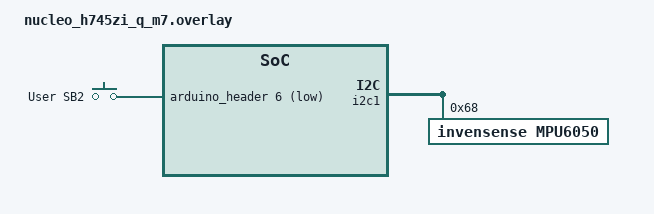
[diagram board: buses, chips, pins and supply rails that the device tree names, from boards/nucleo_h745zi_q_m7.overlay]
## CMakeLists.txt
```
# SPDX-License-Identifier: Apache-2.0

cmake_minimum_required(VERSION 3.20.0)
# set(ZEPHYR_TOOLCHAIN_VARIANT gnuarmemb)
#set(BOARD_FLASH_RUNNER jlink)

find_package(Zephyr REQUIRED HINTS $ENV{ZEPHYR_BASE})
project(blinky)

zephyr_include_directories(src)

target_sources(app PRIVATE src/main.c src/flappy.c src/flappy_lvgl.c )
```

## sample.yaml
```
sample:
  description: LVGL sample application
  name: lvgl
tests:
  sample.display.lvgl.gui:
    filter: dt_chosen_enabled("zephyr,display")
    # flash usage varies depending on the platform, but ~200K are the bare
    # minimum, give some room by adding 50K more. RAM usage depends largerly on
    # the display buffer, but a minimum is also required for the system itself.
    # ~25K seem to be sufficient for most cases, rounded to 32K.
    min_flash: 250
    min_ram: 32
    harness: none
    tags:
      - samples
      - display
      - gui
    modules:
      - lvgl
    integration_platforms:
      - native_posix_64
```

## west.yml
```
manifest:
  remotes:
    - name: zephyrproject-rtos
      url-base: https://github.com/zephyrproject-rtos
  projects:
    - name: zephyr
      remote: zephyrproject-rtos
      revision: v2.7.0
      import: true
  self:
    path: app
```

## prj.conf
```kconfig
CONFIG_GPIO=y
CONFIG_MAIN_STACK_SIZE=2048

CONFIG_DISPLAY=y
CONFIG_DISPLAY_LOG_LEVEL_ERR=y

CONFIG_LOG=y

CONFIG_LVGL=y
CONFIG_LVGL_USE_LABEL=y
CONFIG_LVGL_USE_CONT=y
CONFIG_LVGL_USE_BTN=y
CONFIG_LVGL_USE_THEME_MATERIAL=y
CONFIG_LVGL_USE_LINE=y
CONFIG_LVGL_USE_IMG=y
CONFIG_LVGL_HOR_RES_MAX=128
CONFIG_LVGL_VER_RES_MAX=64

CONFIG_NEWLIB_LIBC=y
CONFIG_NEWLIB_LIBC_FLOAT_PRINTF=y
```

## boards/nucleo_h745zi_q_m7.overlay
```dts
/*
 * Copyright (c) 2020, Nordic Semiconductor ASA
 *
 * SPDX-License-Identifier: Apache-2.0
 */

/ {
	gpio_keys {
		compatible = "gpio-keys";
		user_button1: button_1 {
			gpios = <&arduino_header 6 GPIO_ACTIVE_LOW>;
			label = "User SB2";
		};
	};

	aliases {
		sw1 = &user_button1;
	};
};

arduino_i2c: &i2c1 {
	mpu6050@68 {
		compatible = "invensense,mpu6050";
		reg = <0x68>;
		status = "okay";
		label = "MPU6050";
	};
};
```

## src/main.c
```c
#include <device.h>
#include <drivers/display.h>
#include <drivers/sensor.h>
#include <lvgl.h>
#include <stdio.h>
#include <stdlib.h>     
#include <string.h>
#include <zephyr.h>
#include <flappy.h>
#include <math.h>
#include <drivers/gpio.h>

#define LOG_LEVEL CONFIG_LOG_DEFAULT_LEVEL
#include <logging/log.h>
LOG_MODULE_REGISTER(app);

lv_coord_t y = 25;
lv_coord_t x = 28;
const int16_t ascend = -5;
const int16_t descend = 1;
const uint16_t rateOfDescend = 100;
uint16_t ascendMax = 0;
uint16_t descendMax = 50; // screen resolution_y = 64, flappy_h = 15 (64 - 15 =~ 50)
lv_obj_t *flappy;
lv_obj_t *score;

/*
 * Get button configuration from the devicetree sw0 alias. This is mandatory.
 */
#define SW1_NODE DT_ALIAS(sw1)
#if !DT_NODE_HAS_STATUS(SW1_NODE, okay)
#error "Unsupported board: sw1 devicetree alias is not defined"
#endif
static const struct gpio_dt_spec button1 = GPIO_DT_SPEC_GET_OR(SW1_NODE, gpios,
															   {0});

static struct gpio_callback button_cb_data;

static void cooldown_expired(struct k_work *work)
{
	ARG_UNUSED(work);
	int val = gpio_pin_get_dt(&button1);
	if (val)
	{
		if (y > 0)
			y = y + ascend;
		move_flappy_y(flappy, y);
	}
}

static K_WORK_DELAYABLE_DEFINE(cooldown_work, cooldown_expired);

void button_pressed(const struct device *dev, struct gpio_callback *cb,
					uint32_t pins)
{
	k_work_reschedule(&cooldown_work, K_MSEC(15));
}

void init_display()
{
	const struct device *display_dev;
	display_dev = device_get_binding(CONFIG_LVGL_DISPLAY_DEV_NAME);

	if (display_dev == NULL)
	{
		LOG_ERR("device not found.  Aborting test.");
		return;
	}
	display_blanking_off(display_dev);
}

lv_obj_t *create_scoreboard()
{
	lv_obj_t *scoreLabel = lv_label_create(lv_scr_act(), NULL);
	lv_obj_align(scoreLabel, NULL, LV_ALIGN_IN_TOP_LEFT, 0, 0);
	lv_label_set_text(scoreLabel, "0");
}

lv_obj_t *create_rect(lv_align_t startposition)
{
	/*Create an array for the points of the line*/
	static lv_point_t line_points[] = {{0, 0}, {0, 30}};
	/*Create style*/
	static lv_style_t style_line;
	lv_style_init(&style_line);
	lv_style_set_line_width(&style_line, LV_STATE_DEFAULT, 8);
	lv_style_set_line_color(&style_line, LV_STATE_DEFAULT, LV_COLOR_BLACK);

	/*Create a line and apply the new style*/
	lv_obj_t *dot;
	dot = lv_line_create(lv_scr_act(), NULL);
	lv_line_set_points(dot, line_points, 2); /*Set the points*/
	lv_obj_add_style(dot, LV_LINE_PART_MAIN, &style_line);
	lv_obj_align(dot, NULL, startposition, 0, 0);
	return dot;
}

bool collisionCheck(lv_obj_t *obj1, lv_obj_t *obj2)
{
	if (obj2->coords.x1 + 2 < obj1->coords.x2 && obj1->coords.x1 < obj2->coords.x2 - 2 &&
		obj1->coords.y1 < obj2->coords.y2 - 3 && obj2->coords.y1 - 2 < obj1->coords.y2)
	{
		return true;
	}
	return false;
}

void main(void)
{

	init_display();

	int ret;

	if (!device_is_ready(button1.port))
	{
		printk("Error: button device %s is not ready\n",
			   button1.port->name);
		return;
	}

	ret = gpio_pin_configure_dt(&button1, GPIO_INPUT);
	if (ret != 0)
	{
		printk("Error %d: failed to configure %s pin %d\n",
			   ret, button1.port->name, button1.pin);
		return;
	}

	ret = gpio_pin_interrupt_configure_dt(&button1,
										  GPIO_INT_EDGE_BOTH);
	if (ret != 0)
	{
		printk("Error %d: failed to configure interrupt on %s pin %d\n",
			   ret, button1.port->name, button1.pin);
		return;
	}

	gpio_init_callback(&button_cb_data, button_pressed, BIT(button1.pin));
	gpio_add_callback(button1.port, &button_cb_data);
	printk("Set up button at %s pin %d\n", button1.port->name, button1.pin);

	flappy = create_flappy();
	score = create_scoreboard();
	reset_pos_flappy(flappy);
	move_flappy_x(flappy, x);

	lv_obj_t *left = create_rect(LV_ALIGN_IN_BOTTOM_RIGHT);
	lv_obj_t *right = create_rect(LV_ALIGN_IN_BOTTOM_RIGHT);
	move_flappy_x(right, lv_obj_get_x(left) + 64);
	lv_task_handler();
	lv_align_t startPostions[] = {LV_ALIGN_IN_BOTTOM_RIGHT, LV_ALIGN_IN_RIGHT_MID, LV_ALIGN_IN_TOP_RIGHT};

	int i = 0;

	while (1)
	{
		move_flappy_y(flappy, y);
		if (!collisionCheck(flappy, left))
		{
			if (lv_obj_get_x(left) < 0)
			{
				lv_obj_del(left);
				left = right;
				i = rand() % 3; // use rand() function to get the random number 
				right = create_rect(startPostions[i]);
			}
			else
			{
				move_flappy_x(left, lv_obj_get_x(left) - 1);
				move_flappy_x(right, lv_obj_get_x(right) - 1);
			}
			k_sleep(K_MSEC(rateOfDescend));
			if (y < descendMax)
			{
				y = y + descend;
			}
			lv_task_handler();
		}
	}
}
```

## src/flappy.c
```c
#include "flappy.h"

lv_obj_t *create_flappy(void)
{
    lv_obj_t *flappy_img;
    LV_IMG_DECLARE(flappy_lvgl);
    
    flappy_img = lv_img_create(lv_scr_act(), NULL);
    lv_img_set_src(flappy_img,&flappy_lvgl);
    lv_obj_align(flappy_img, NULL, LV_ALIGN_CENTER, 0, 0);
    return flappy_img;
}


void move_flappy_x(lv_obj_t *dot, lv_coord_t x)
{
    lv_obj_set_x(dot, x);
}

void move_flappy_y(lv_obj_t *dot, lv_coord_t y)
{
    lv_obj_set_y(dot, y);
}

void reset_pos_flappy(lv_obj_t *dot)
{
    lv_obj_set_pos(dot, 0, 0);
}
```

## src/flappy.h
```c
#ifndef FLAPPY_H
#define FLAPPY_H

#include <device.h>
#include <drivers/display.h>
#include <lvgl.h>
#include <stdio.h>
#include <string.h>
#include <zephyr.h>

lv_obj_t *create_flappy(void);
void move_flappy_x(lv_obj_t *dot, lv_coord_t x);
void move_flappy_y(lv_obj_t *dot, lv_coord_t y);
void reset_pos_flappy(lv_obj_t *dot);

#endif
```
